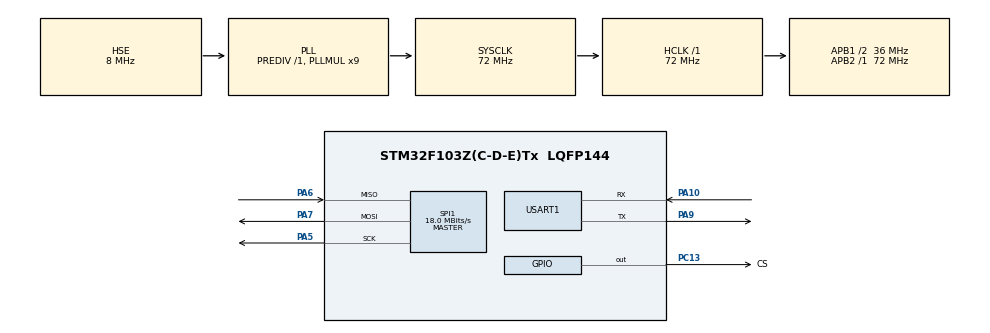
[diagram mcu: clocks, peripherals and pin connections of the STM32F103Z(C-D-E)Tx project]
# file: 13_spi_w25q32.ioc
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Mcu.Family=STM32F1
Mcu.Name=STM32F103Z(C-D-E)Tx
Mcu.Package=LQFP144
NVIC.PriorityGroup=NVIC_PRIORITYGROUP_4
OSC_IN.Mode=HSE-External-Oscillator
OSC_IN.Signal=RCC_OSC_IN
OSC_OUT.Mode=HSE-External-Oscillator
OSC_OUT.Signal=RCC_OSC_OUT
PA10.Mode=Asynchronous
PA10.Signal=USART1_RX
PA13.Mode=Serial_Wire
PA13.Signal=SYS_JTMS-SWDIO
PA14.Mode=Serial_Wire
PA14.Signal=SYS_JTCK-SWCLK
PA5.Mode=Full_Duplex_Master
PA5.Signal=SPI1_SCK
PA6.Mode=Full_Duplex_Master
PA6.Signal=SPI1_MISO
PA7.Mode=Full_Duplex_Master
PA7.Signal=SPI1_MOSI
PA9.Mode=Asynchronous
PA9.Signal=USART1_TX
PC13-TAMPER-RTC.GPIO_Label=CS
PC13-TAMPER-RTC.GPIO_Speed=GPIO_SPEED_FREQ_HIGH
PC13-TAMPER-RTC.PinState=GPIO_PIN_SET
PC13-TAMPER-RTC.Signal=GPIO_Output
PC14-OSC32_IN.Mode=LSE-External-Oscillator
PC14-OSC32_IN.Signal=RCC_OSC32_IN
PC15-OSC32_OUT.Mode=LSE-External-Oscillator
PC15-OSC32_OUT.Signal=RCC_OSC32_OUT
ProjectManager.HeapSize=0x200
ProjectManager.StackSize=0x400
ProjectManager.TargetToolchain=CMake
RCC.AHBFreq_Value=72000000
RCC.APB1CLKDivider=RCC_HCLK_DIV2
RCC.APB1Freq_Value=36000000
RCC.APB1TimFreq_Value=72000000
RCC.APB2Freq_Value=72000000
RCC.APB2TimFreq_Value=72000000
RCC.HCLKFreq_Value=72000000
RCC.PLLMUL=RCC_PLL_MUL9
RCC.PLLSourceVirtual=RCC_PLLSOURCE_HSE
RCC.SYSCLKFreq_VALUE=72000000
RCC.SYSCLKSource=RCC_SYSCLKSOURCE_PLLCLK
RCC.USBFreq_Value=72000000
SPI1.BaudRatePrescaler=SPI_BAUDRATEPRESCALER_4
SPI1.CalculateBaudRate=18.0 MBits/s
SPI1.Direction=SPI_DIRECTION_2LINES
SPI1.Mode=SPI_MODE_MASTER
SPI1.VirtualType=VM_MASTER
USART1.VirtualMode=VM_ASYNC
board=custom

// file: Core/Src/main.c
/* USER CODE BEGIN Header */
/**
  ******************************************************************************
  * @file           : main.c
  * @brief          : Main program body
  ******************************************************************************
  * @attention
  *
  * Copyright (c) 2026 STMicroelectronics.
  * All rights reserved.
  *
  * This software is licensed under terms that can be found in the LICENSE file
  * in the root directory of this software component.
  * If no LICENSE file comes with this software, it is provided AS-IS.
  *
  ******************************************************************************
  */
/* USER CODE END Header */
#include "main.h"

#include <stdio.h>
#include <string.h>

#include "spi.h"
#include "usart.h"
#include "gpio.h"
#include "w25q32_driver.h"

void SystemClock_Config(void);

int main(void)
{

  /* MCU Configuration--------------------------------------------------------*/

  /* Reset of all peripherals, Initializes the Flash interface and the Systick. */
  HAL_Init();

  /* Configure the system clock */
  SystemClock_Config();

  /* Initialize all configured peripherals */
  MX_GPIO_Init();
  MX_SPI1_Init();
  MX_USART1_UART_Init();
  /* USER CODE BEGIN 2 */

  printf("Hello SPI!\n");

  // 初始化
  printf("Initializing...\n");

  // 读取设备ID
  uint8_t mid = 0;
  uint16_t did = 0;
  w25q32_read_id(&mid, &did);

  // 打印设备ID
  printf("MID: %02X, DID: %04X\n", mid, did);

  // 段擦除
  w25q32_erase_sector(0, 0);
  printf("Sector erased\n");

  // 页写入
  const char* msg = "Hello World!";
  w25q32_write(0, 0, 0, (const uint8_t*)msg, 12);
  printf("Page written\n");

  // 读取写入数据
  uint8_t data[16] = {0};
  w25q32_read(0, 0, 0, 0, data, 12);

  printf("Data: %s\n", data);

  // 课堂练习, 写入 a-z 重复 10次
  // 得到 a-z 的重复10次 26*10
  char buf[261] = {0};
  for (int i = 0; i < 10; i++)
  {
    for (char c = 'a'; c <= 'z'; c++)
    {
      buf[i * 26 + c - 'a'] = c;
    }
  }
  buf[261] = '\0';
  printf("buf %s\n", buf);
  // 擦除
  w25q32_erase_sector(1, 0);

  // 然后分页, 已知一页大小为 256字节, 假设写入的页数是 10
  w25q32_write(1, 0, 0, (const uint8_t*)buf, 200);

  // 写入剩下的
  w25q32_write(1, 0, 1, (const uint8_t*)buf + 200, 56);

  // 读取缓存
  uint8_t data_page_1[201] = {0};
  uint8_t data_page_2[57] = {0};

  // 读取第一页
  w25q32_read(1, 0, 0, 0, data_page_1, 200);

  printf("data_page_1: %s\n", data_page_1);

  // 读取第二页
  w25q32_read(1, 0, 1, 0, data_page_2, 56);

  printf("data_page_2: %s\n", data_page_2);

  // 合并数据  data_page_1 , data_page_2

  /* USER CODE END 2 */

  /* Infinite loop */
  while (1)
  {

  }
}

void SystemClock_Config(void)
{
  RCC_OscInitTypeDef RCC_OscInitStruct = {0};
  RCC_ClkInitTypeDef RCC_ClkInitStruct = {0};

  /** Initializes the RCC Oscillators according to the specified parameters
  * in the RCC_OscInitTypeDef structure.
  */
  RCC_OscInitStruct.OscillatorType = RCC_OSCILLATORTYPE_HSE;
  RCC_OscInitStruct.HSEState = RCC_HSE_ON;
  RCC_OscInitStruct.HSEPredivValue = RCC_HSE_PREDIV_DIV1;
  RCC_OscInitStruct.HSIState = RCC_HSI_ON;
  RCC_OscInitStruct.PLL.PLLState = RCC_PLL_ON;
  RCC_OscInitStruct.PLL.PLLSource = RCC_PLLSOURCE_HSE;
  RCC_OscInitStruct.PLL.PLLMUL = RCC_PLL_MUL9;
  if (HAL_RCC_OscConfig(&RCC_OscInitStruct) != HAL_OK)
  {
    Error_Handler();
  }

  /** Initializes the CPU, AHB and APB buses clocks
  */
  RCC_ClkInitStruct.ClockType = RCC_CLOCKTYPE_HCLK | RCC_CLOCKTYPE_SYSCLK
    | RCC_CLOCKTYPE_PCLK1 | RCC_CLOCKTYPE_PCLK2;
  RCC_ClkInitStruct.SYSCLKSource = RCC_SYSCLKSOURCE_PLLCLK;
  RCC_ClkInitStruct.AHBCLKDivider = RCC_SYSCLK_DIV1;
  RCC_ClkInitStruct.APB1CLKDivider = RCC_HCLK_DIV2;
  RCC_ClkInitStruct.APB2CLKDivider = RCC_HCLK_DIV1;

  if (HAL_RCC_ClockConfig(&RCC_ClkInitStruct, FLASH_LATENCY_2) != HAL_OK)
  {
    Error_Handler();
  }
}

void Error_Handler(void)
{
  __disable_irq();
  while (1)
  {
  }
}
